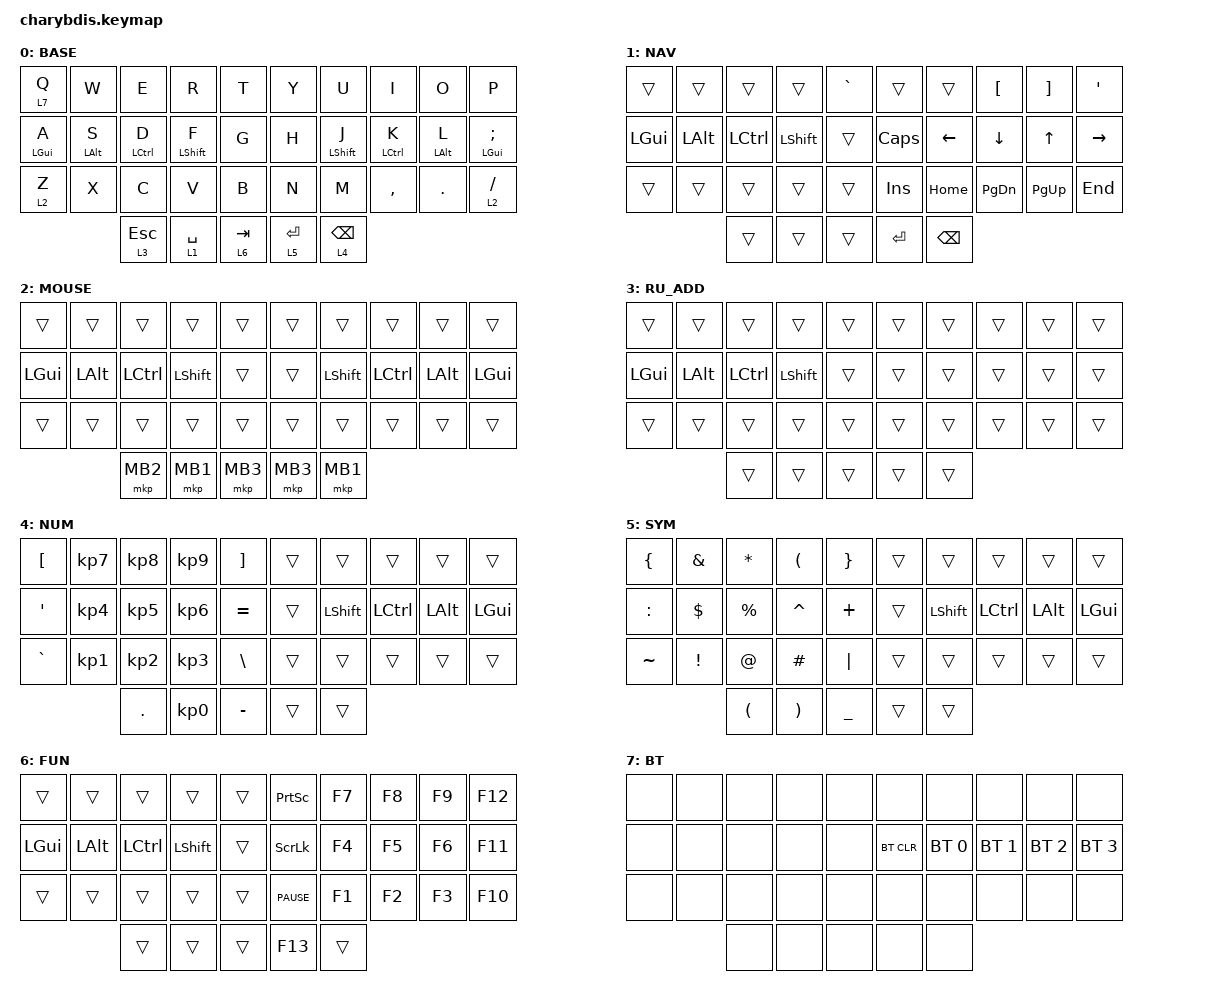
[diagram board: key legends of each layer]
#include <behaviors.dtsi>
#include <dt-bindings/zmk/bt.h>
#include <dt-bindings/zmk/keys.h>
#include <dt-bindings/zmk/pointing.h>
#include <dt-bindings/zmk/rgb.h>

&lt {
    tapping-term-ms = <200>;
    flavor = "balanced";
    quick-tap-ms = <150>;
};

/ {
    macros {
        To1_macro: To1_macro {
            compatible = "zmk,behavior-macro";
            label = "To1_macro";
            #binding-cells = <0>;
            bindings = <&rgb_ug RGB_EFF &rgb_ug RGB_COLOR_HSB(128,100,50) &to 0>;
        };

        To0_macro: To0_macro {
            compatible = "zmk,behavior-macro";
            label = "To0_macro";
            #binding-cells = <0>;
            bindings = <&rgb_ug RGB_EFR &to 0>;
        };

        To2_macro: To2_macro {
            compatible = "zmk,behavior-macro";
            label = "To2_macro";
            #binding-cells = <0>;
            bindings =
                <&to 0>,
                <&macro_wait_time 30>,
                <&rgb_ug RGB_COLOR_HSB(250,100,50)>;
        };
    };

    keymap {
        compatible = "zmk,keymap";

        BASE {
            bindings = <
&lt 7 Q         &kp W           &kp E               &kp R             &kp T        &kp Y        &kp U             &kp I               &kp O           &kp P
&mt LEFT_GUI A  &mt LEFT_ALT S  &mt LEFT_CONTROL D  &mt LEFT_SHIFT F  &kp G        &kp H        &mt LEFT_SHIFT J  &mt LEFT_CONTROL K  &mt LEFT_ALT L  &mt LEFT_GUI SEMICOLON
&lt 2 Z         &kp X           &kp C               &kp V             &kp B        &kp N        &kp M             &kp COMMA           &kp DOT         &lt 2 SLASH
                                &lt 3 ESCAPE        &lt 1 SPACE       &lt 6 TAB    &lt 5 ENTER  &lt 4 BACKSPACE
            >;
        };

        NAV {
            bindings = <
&trans    &trans    &trans     &trans     &kp GRAVE    &trans        &trans         &kp LEFT_BRACKET  &kp RIGHT_BRACKET  &kp SQT
&kp LGUI  &kp LALT  &kp LCTRL  &kp LSHFT  &trans       &kp CAPSLOCK  &kp LEFT       &kp DOWN          &kp UP             &kp RIGHT
&trans    &trans    &trans     &trans     &trans       &kp INSERT    &kp HOME       &kp PAGE_DOWN     &kp PAGE_UP        &kp END
                    &trans     &trans     &trans       &kp ENTER     &kp BACKSPACE
            >;
        };

        MOUSE {
            bindings = <
&trans    &trans    &trans     &trans      &trans      &trans    &trans      &trans            &trans    &trans
&kp LGUI  &kp LALT  &kp LCTRL  &kp LSHIFT  &trans      &trans    &kp LSHIFT  &kp LEFT_CONTROL  &kp LALT  &kp LEFT_GUI
&trans    &trans    &trans     &trans      &trans      &trans    &trans      &trans            &trans    &trans
                    &mkp MB2   &mkp MB1    &mkp MB3    &mkp MB3  &mkp MB1
            >;
        };

        RU_ADD {
            bindings = <
&trans        &trans        &trans            &trans          &trans    &trans  &trans  &trans  &trans  &trans
&kp LEFT_GUI  &kp LEFT_ALT  &kp LEFT_CONTROL  &kp LEFT_SHIFT  &trans    &trans  &trans  &trans  &trans  &trans
&trans        &trans        &trans            &trans          &trans    &trans  &trans  &trans  &trans  &trans
                            &trans            &trans          &trans    &trans  &trans
            >;
        };

        NUM {
            bindings = <
&kp LEFT_BRACKET  &kp KP_NUMBER_7  &kp KP_NUMBER_8  &kp KP_NUMBER_9  &kp RIGHT_BRACKET    &trans  &trans      &trans            &trans    &trans
&kp SQT           &kp KP_NUMBER_4  &kp KP_NUMBER_5  &kp KP_NUMBER_6  &kp EQUAL            &trans  &kp LSHIFT  &kp LEFT_CONTROL  &kp LALT  &kp LGUI
&kp GRAVE         &kp KP_NUMBER_1  &kp KP_NUMBER_2  &kp KP_NUMBER_3  &kp BACKSLASH        &trans  &trans      &trans            &trans    &trans
                                   &kp DOT          &kp KP_NUMBER_0  &kp MINUS            &trans  &trans
            >;
        };

        SYM {
            bindings = <
&kp LEFT_BRACE  &kp AMPERSAND    &kp ASTERISK          &kp LEFT_PARENTHESIS   &kp RIGHT_BRACE    &trans  &trans      &trans     &trans    &trans
&kp COLON       &kp DOLLAR       &kp PERCENT           &kp CARET              &kp PLUS           &trans  &kp LSHIFT  &kp LCTRL  &kp LALT  &kp LGUI
&kp TILDE       &kp EXCLAMATION  &kp AT_SIGN           &kp HASH               &kp PIPE           &trans  &trans      &trans     &trans    &trans
                                 &kp LEFT_PARENTHESIS  &kp RIGHT_PARENTHESIS  &kp UNDERSCORE     &trans  &trans
            >;
        };

        FUN {
            bindings = <
&trans    &trans    &trans     &trans     &trans    &kp PRINTSCREEN  &kp F7  &kp F8  &kp F9  &kp F12
&kp LGUI  &kp LALT  &kp LCTRL  &kp LSHFT  &trans    &kp SCROLLLOCK   &kp F4  &kp F5  &kp F6  &kp F11
&trans    &trans    &trans     &trans     &trans    &kp C_PAUSE      &kp F1  &kp F2  &kp F3  &kp F10
                    &trans     &trans     &trans    &kp F13          &trans
            >;
        };

        BT {
            bindings = <
&none  &none  &none  &none  &none    &none       &none         &none         &none         &none
&none  &none  &none  &none  &none    &bt BT_CLR  &bt BT_SEL 0  &bt BT_SEL 1  &bt BT_SEL 2  &bt BT_SEL 3
&none  &none  &none  &none  &none    &none       &none         &none         &none         &none
              &none  &none  &none    &none       &none
            >;
        };

        /* layer_2 {
            bindings = <
&none  &none   &none    &none   &none         &none         &kp N1         &none         &none     &none  &none   &to 0
&none  &none   &none    &none   &none         &none         &none         &none          &rgb_ug RGB_BRD &rgb_ug RGB_BRI  &rgb_ug RGB_EFF   &rgb_ug RGB_TOG
&none  &none   &none    &none   &none         &none         &none         &mkp LCLK     &mkp RCLK  &none  &none   &none
&none  &none   &none    &none   &bt BT_NXT  &bt BT_CLR    &none         &none         &none     &none  &none   &none
                                   &none         &none         &none         &none         &none
                                                 &none         &none         &none
            >;
       
            
        };

       Mouse {
            bindings = <
&none        &none         &none         &none         &none      &none         &none       &none      &none         &none         &none         &none
&none        &bt BT_SEL 0  &bt BT_SEL 1  &bt BT_SEL 3  &none      &bt BT_CLR    &bt BT_CLR  &none      &bt BT_SEL 2  &bt BT_SEL 1  &bt BT_SEL 0  &none
&none        &trans        &trans        &mkp MCLK     &trans     &none         &none       &trans     &mkp MCLK     &trans        &trans        &none
&bootloader  &trans        &mkp RCLK     &mo 4         &mkp LCLK  &mo 5         &mo 5       &mkp LCLK  &mo 4         &mkp RCLK     &trans        &bootloader
                                         &mo 5         &mkp LCLK  &mkp RCLK     &mkp RCLK   &mkp LCLK
                                                       &none      &trans        &trans
            >;

            
        };

        layer_4 {
            bindings = <
&trans  &trans  &trans     &trans     &trans     &trans       &trans     &trans     &trans     &trans     &trans  &trans
&trans  &trans  &trans     &trans     &trans     &trans       &trans     &trans     &trans     &trans     &trans  &trans
&trans  &trans  &trans     &mkp MCLK  &trans     &trans       &trans     &trans     &mkp MCLK  &trans     &trans  &trans
&trans  &trans  &mkp RCLK  &trans     &mkp LCLK  &trans       &trans     &mkp LCLK  &trans     &mkp RCLK  &trans  &trans
                           &trans     &mkp LCLK  &mkp RCLK    &mkp RCLK  &mkp LCLK
                                      &trans     &trans       &trans
            >;
                
                
               
        };

        layer_5 {
            bindings = <
&trans  &trans  &trans     &trans     &trans     &trans       &trans     &trans     &trans     &trans     &trans  &trans
&trans  &trans  &trans     &trans     &trans     &trans       &trans     &trans     &trans     &trans     &trans  &trans
&trans  &trans  &trans     &mkp MCLK  &trans     &trans       &trans     &trans     &mkp MCLK  &trans     &trans  &trans
&trans  &trans  &mkp RCLK  &trans     &mkp LCLK  &trans       &trans     &mkp LCLK  &trans     &mkp RCLK  &trans  &trans
                           &trans     &mkp LCLK  &mkp RCLK    &mkp RCLK  &mkp LCLK
                                      &trans     &trans       &trans
            >;
                
                
        };*/
    };
};
